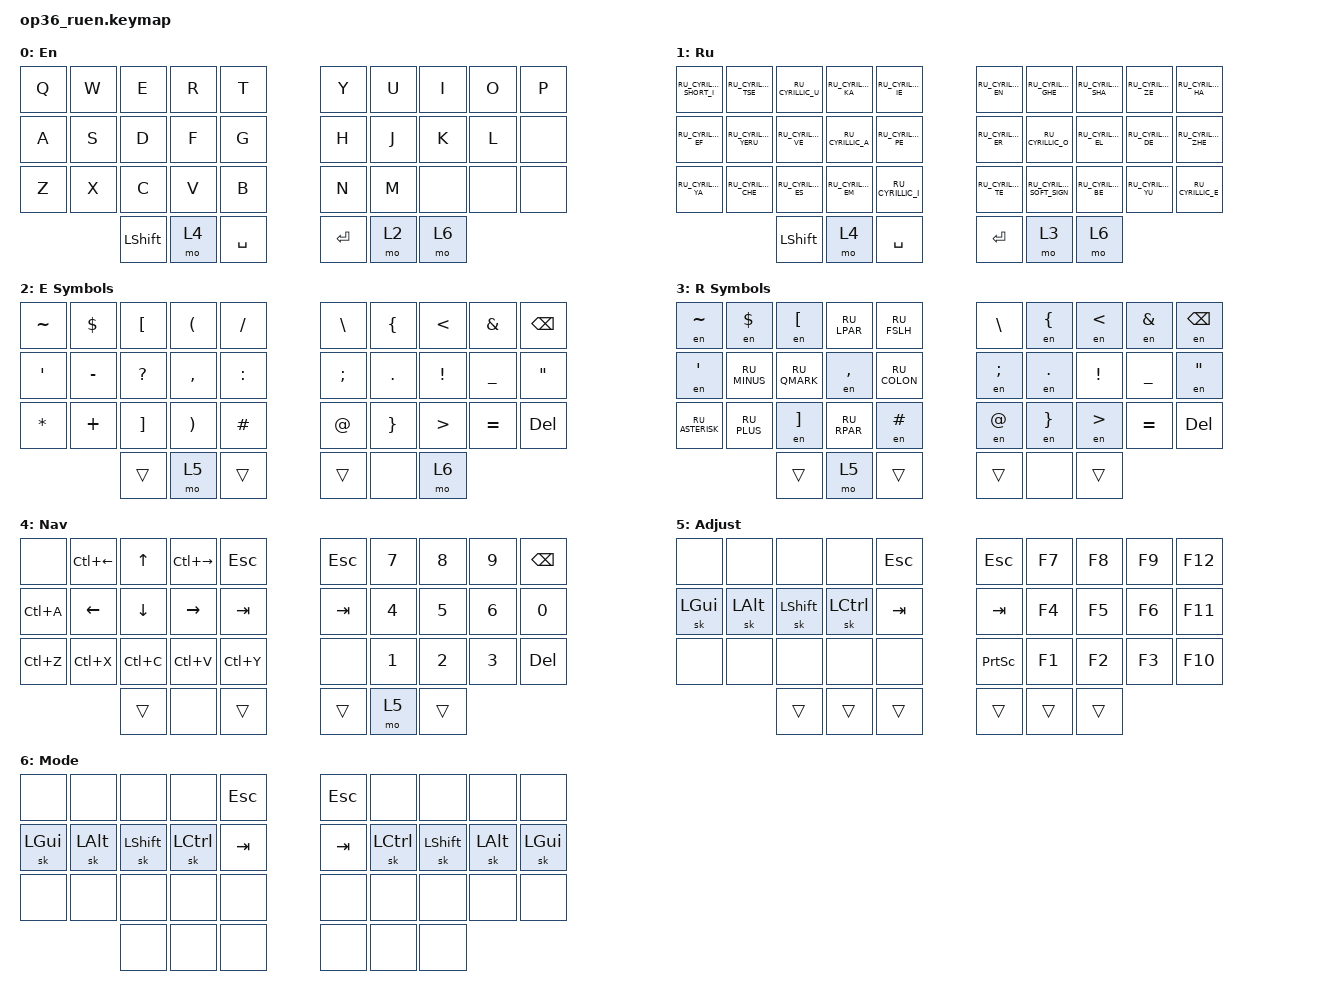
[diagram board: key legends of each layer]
#include "keys_ru.h"
#include "keys_ru.h"
#include <behaviors.dtsi>
#include <dt-bindings/zmk/keys.h>

&mt {
    quick-tap-ms = <200>;
    flavor = "tap-preferred";
    require-prior-idle-ms = <125>;
};

/ {
    behaviors {
        hml: home_row_mod_left {
            compatible = "zmk,behavior-hold-tap";
            #binding-cells = <2>;
            flavor = "balanced";
            require-prior-idle-ms = <150>;
            tapping-term-ms = <280>;
            quick-tap-ms = <175>;
            bindings = <&kp>, <&kp>;

            hold-trigger-key-positions = <5 6 7 8 9 15 16 17 18 19 25 26 27 28 29 33 34 35>;
            hold-trigger-on-release;
        };

        hmr: home_row_mod_right {
            compatible = "zmk,behavior-hold-tap";
            #binding-cells = <2>;
            flavor = "balanced";
            require-prior-idle-ms = <150>;
            tapping-term-ms = <280>;
            quick-tap-ms = <175>;
            bindings = <&kp>, <&kp>;

            hold-trigger-key-positions = <0 1 2 3 4 10 11 12 13 14 20 21 22 23 24 30 31 32>;
            hold-trigger-on-release;
        };
    };

    combos {
        compatible = "zmk,combos";

        shcha {
            bindings = <&kp RU_CYRILLIC_SHCHA>;
            key-positions = <17 7>;
            layers = <1>;
        };

        hrdsgn {
            bindings = <&kp RU_CYRILLIC_HARD_SIGN>;
            key-positions = <26 16>;
            layers = <1>;
        };

        cmben {
            bindings = <&layer_en>;
            key-positions = <3 13>;
            layers = <1>;
        };

        cmbru {
            bindings = <&layer_ru>;
            key-positions = <3 13>;
            layers = <0>;
        };

        yo {
            bindings = <&kp RU_CYRILLIC_IO>;
            key-positions = <4 14>;
            layers = <1>;
        };

        mo6_1 {
            bindings = <&mo 6>;
            key-positions = <30 31>;
            layers = <0 1 3 4 4 5>;
        };

        mo6_2 {
            bindings = <&mo 6>;
            key-positions = <31 32>;
            layers = <0 1 3 4 4 5>;
        };

        mo6_3 {
            bindings = <&mo 6>;
            key-positions = <33 34>;
            layers = <0 1 3 4 4 5>;
        };

        mo6_4 {
            bindings = <&mo 6>;
            key-positions = <34 35>;
            layers = <0 1 3 4 4 5>;
        };

        grave {
            bindings = <&en GRAVE>;
            key-positions = <0 10>;
            layers = <3>;
        };

        nomero {
            bindings = <&kp RU_NUMERO>;
            key-positions = <14 24>;
            layers = <3>;
        };

        pipe_en {
            bindings = <&kp PIPE>;
            key-positions = <8 18>;
            layers = <2>;
        };

        pipi_ru {
            bindings = <&en PIPE>;
            key-positions = <18 8>;
            layers = <3>;
        };

        percent {
            bindings = <&kp PERCENT>;
            key-positions = <28 18>;
            layers = <3 2>;
        };

        Caret_en {
            bindings = <&ru CARET>;
            key-positions = <7 17>;
            layers = <3>;
        };

        Caret_ru {
            bindings = <&en CARET>;
            key-positions = <7 17>;
            layers = <2>;
        };

        graveEn {
            bindings = <&kp GRAVE>;
            key-positions = <0 10>;
            layers = <2>;
        };

        nomeroEn {
            bindings = <&ru RU_NUMERO>;
            key-positions = <14 24>;
            layers = <2>;
        };
    };

    macros {
        to_ru: to_ru {
            compatible = "zmk,behavior-macro";
            #binding-cells = <0>;
            bindings = <&kp LS(LC(N2))>;
            label = "TO_RU";
            wait-ms = <0>;
            tap-ms = <30>;
        };

        to_en: to_en {
            compatible = "zmk,behavior-macro";
            #binding-cells = <0>;
            bindings = <&kp LS(LC(N1))>;
            label = "TO_EN";
            wait-ms = <0>;
            tap-ms = <30>;
        };

        layer_en: layer_en {
            compatible = "zmk,behavior-macro";
            #binding-cells = <0>;
            bindings = <&to 0 &to_en>;
            label = "LAYER_EN";
            wait-ms = <0>;
            tap-ms = <30>;
        };

        layer_ru: layer_ru {
            compatible = "zmk,behavior-macro";
            #binding-cells = <0>;
            bindings = <&to 1 &to_ru>;
            label = "LAYER_RU";
            tap-ms = <30>;
            wait-ms = <0>;
        };

        en: en {
            compatible = "zmk,behavior-macro-one-param";
            #binding-cells = <1>;
            bindings =
                <&to_en>,
                <&macro_press>,
                <&macro_param_1to1 &kp MACRO_PLACEHOLDER>,
                <&macro_pause_for_release>,
                <&macro_release>,
                <&macro_param_1to1 &kp MACRO_PLACEHOLDER>,
                <&macro_tap>,
                <&to_ru>;

            label = "EN";
            wait-ms = <0>;
            tap-ms = <30>;
        };

        ru: ru {
            compatible = "zmk,behavior-macro-one-param";
            #binding-cells = <1>;
            bindings =
                <&to_ru>,
                <&macro_press>,
                <&macro_param_1to1 &kp MACRO_PLACEHOLDER>,
                <&macro_pause_for_release>,
                <&macro_release>,
                <&macro_param_1to1 &kp MACRO_PLACEHOLDER>,
                <&macro_tap>,
                <&to_en>;

            label = "RU";
            wait-ms = <0>;
            tap-ms = <30>;
        };
    };

    keymap {
        compatible = "zmk,keymap";

        en {
            bindings = <
  &kp Q  &kp W  &kp E  &kp R           &kp T                          &kp Y  &kp U  &kp I  &kp O  &kp P
  &kp A  &kp S  &kp D  &kp F           &kp G                          &kp H  &kp J  &kp K  &kp L  &none
  &kp Z  &kp X  &kp C  &kp V           &kp B                          &kp N  &kp M  &none  &none  &none
                       &kp LEFT_SHIFT  &mo 4  &kp SPACE    &kp ENTER  &mo 2  &mo 6
            >;

            display-name = "En";
        };

        ru {
            bindings = <
  &kp RU_CYRILLIC_SHORT_I  &kp RU_CYRILLIC_TSE   &kp RU_CYRILLIC_U   &kp RU_CYRILLIC_KA  &kp RU_CYRILLIC_IE                          &kp RU_CYRILLIC_EN  &kp RU_CYRILLIC_GHE        &kp RU_CYRILLIC_SHA  &kp RU_CYRILLIC_ZE  &kp RU_CYRILLIC_HA
  &kp RU_CYRILLIC_EF       &kp RU_CYRILLIC_YERU  &kp RU_CYRILLIC_VE  &kp RU_CYRILLIC_A   &kp RU_CYRILLIC_PE                          &kp RU_CYRILLIC_ER  &kp RU_CYRILLIC_O          &kp RU_CYRILLIC_EL   &kp RU_CYRILLIC_DE  &kp RU_CYRILLIC_ZHE
  &kp RU_CYRILLIC_YA       &kp RU_CYRILLIC_CHE   &kp RU_CYRILLIC_ES  &kp RU_CYRILLIC_EM  &kp RU_CYRILLIC_I                           &kp RU_CYRILLIC_TE  &kp RU_CYRILLIC_SOFT_SIGN  &kp RU_CYRILLIC_BE   &kp RU_CYRILLIC_YU  &kp RU_CYRILLIC_E
                                                                     &kp LEFT_SHIFT      &mo 4               &kp SPACE    &kp ENTER  &mo 3               &mo 6
            >;

            display-name = "Ru";
        };

        my_sym_en {
            display-name = "E Symbols";
            bindings = <
  &kp TILDE  &kp DLLR   &kp LBKT   &kp LPAR   &kp FSLH                     &kp BSLH  &kp LBRC  &kp LESS_THAN  &kp AMPS   &kp BACKSPACE
  &kp APOS   &kp MINUS  &kp QMARK  &kp COMMA  &kp COLON                    &kp SEMI  &kp DOT   &kp EXCL       &kp UNDER  &kp DQT
  &kp STAR   &kp PLUS   &kp RBKT   &kp RPAR   &kp HASH                     &kp AT    &kp RBRC  &kp GT         &kp EQUAL  &kp DEL
                                   &trans     &mo 5      &trans    &trans  &none     &mo 6
            >;
        };

        my_sym_ru {
            display-name = "R Symbols";
            bindings = <
  &en TILDE        &en DLLR      &en LBKT      &kp RU_LPAR  &kp RU_FSLH                     &kp BSLH  &en LBRC  &en LESS_THAN  &en AMPS   &en BACKSPACE
  &en APOS         &kp RU_MINUS  &kp RU_QMARK  &en COMMA    &kp RU_COLON                    &en SEMI  &en DOT   &kp EXCL       &kp UNDER  &en DQT
  &kp RU_ASTERISK  &kp RU_PLUS   &en RBKT      &kp RU_RPAR  &en HASH                        &en AT    &en RBRC  &en GT         &kp EQUAL  &kp DEL
                                               &trans       &mo 5         &trans    &trans  &none     &trans
            >;
        };

        nav {
            bindings = <
  &none      &kp LC(LEFT_ARROW)  &kp UP     &kp LC(RIGHT_ARROW)  &kp ESC                      &kp ESC  &kp N7  &kp N8  &kp N9  &kp BSPC
  &kp LC(A)  &kp LEFT            &kp DOWN   &kp RIGHT            &kp TAB                      &kp TAB  &kp N4  &kp N5  &kp N6  &kp N0
  &kp LC(Z)  &kp LC(X)           &kp LC(C)  &kp LC(V)            &kp LC(Y)                    &none    &kp N1  &kp N2  &kp N3  &kp DEL
                                            &trans               &none      &trans    &trans  &mo 5    &trans
            >;

            display-name = "Nav";
        };

        adj {
            bindings = <
  &none         &none         &none           &none      &kp ESC                    &kp ESC          &kp F7  &kp F8  &kp F9  &kp F12
  &sk LEFT_GUI  &sk LEFT_ALT  &sk LEFT_SHIFT  &sk LCTRL  &kp TAB                    &kp TAB          &kp F4  &kp F5  &kp F6  &kp F11
  &none         &none         &none           &none      &none                      &kp PRINTSCREEN  &kp F1  &kp F2  &kp F3  &kp F10
                                              &trans     &trans   &trans    &trans  &trans           &trans
            >;

            display-name = "Adjust";
        };

        mod {
            bindings = <
  &none         &none     &none      &none      &kp ESC                  &kp ESC  &none      &none      &none     &none
  &sk LEFT_GUI  &sk LALT  &sk LSHFT  &sk LCTRL  &kp TAB                  &kp TAB  &sk LCTRL  &sk LSHFT  &sk LALT  &sk LGUI
  &none         &none     &none      &none      &none                    &none    &none      &none      &none     &none
                                     &none      &none    &none    &none  &none    &none
            >;

            label = "Mode";
        };
    };
};
